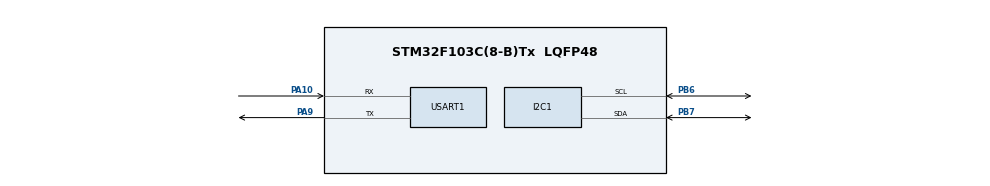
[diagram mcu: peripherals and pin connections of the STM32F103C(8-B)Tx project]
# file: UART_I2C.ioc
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Mcu.Family=STM32F1
Mcu.Name=STM32F103C(8-B)Tx
Mcu.Package=LQFP48
NVIC.PriorityGroup=NVIC_PRIORITYGROUP_4
PA10.Mode=Asynchronous
PA10.Signal=USART1_RX
PA9.Mode=Asynchronous
PA9.Signal=USART1_TX
PB6.Mode=I2C
PB6.Signal=I2C1_SCL
PB7.Mode=I2C
PB7.Signal=I2C1_SDA
ProjectManager.HeapSize=0x200
ProjectManager.StackSize=0x400
ProjectManager.TargetToolchain=STM32CubeIDE
RCC.APB1Freq_Value=8000000
RCC.APB2Freq_Value=8000000
USART1.VirtualMode=VM_ASYNC
VP_SYS_VS_ND.Mode=No_Debug
board=custom

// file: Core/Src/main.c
/* USER CODE BEGIN Header */
/**
  ******************************************************************************
  * @file           : main.c
  * @brief          : Main program body
  ******************************************************************************
  * @attention
  *
  * Copyright (c) 2024 STMicroelectronics.
  * All rights reserved.
  *
  * This software is licensed under terms that can be found in the LICENSE file
  * in the root directory of this software component.
  * If no LICENSE file comes with this software, it is provided AS-IS.
  *
  ******************************************************************************
  */
/* USER CODE END Header */
#include "main.h"
#include "stm32f1xx_hal_i2c.h"

/* USER CODE BEGIN PD */
#define SI7021_ADDRESS 0x40
#define SI7021_MEASURE_HUMIDITY 0xF5
#define SI7021_MEASURE_TEMPERATURE 0xF3
/* USER CODE END PD */

I2C_HandleTypeDef hi2c1;

UART_HandleTypeDef huart1;

void SystemClock_Config(void);
static void MX_GPIO_Init(void);
static void MX_I2C1_Init(void);
static void MX_USART1_UART_Init(void);
static HAL_StatusTypeDef I2C_Measure_Humidity(uint16_t * buffer);
static HAL_StatusTypeDef I2C_Measure_Temperature(uint16_t * buffer);

int main(void)
{

  /* MCU Configuration--------------------------------------------------------*/

  /* Reset of all peripherals, Initializes the Flash interface and the Systick. */
  HAL_Init();

  /* Configure the system clock */
  SystemClock_Config();

  /* Initialize all configured peripherals */
  MX_GPIO_Init();
  MX_I2C1_Init();
  MX_USART1_UART_Init();

  /* Infinite loop */
  while (1)
  {
	  char results[100] = "";
	  uint16_t buffer = 0;
	  float humidity = 0;
	  float temperature = 0;
	  if (I2C_Measure_Humidity(&buffer) == HAL_OK){
		  humidity = 125.0*buffer/65536.0 - 6;
	  }
	  else{
		  sprintf(results, sizeof(results), "Error in humidity measurement");
		  HAL_UART_Transmit(&huart1, results, strlen(results), 500);
		  HAL_Delay(1000);
		  continue;
	  }
	  if (I2C_Measure_Temperature(&buffer) == HAL_OK){
		  temperature = 175.72*buffer/65536.0 - 46.85;
	  }
	  else{
	  		  sprintf(results, sizeof(results), "Error in temperature measurement");
	  		  HAL_UART_Transmit(&huart1, results, strlen(results), 500);
	  		  HAL_Delay(1000);
	  		  continue;
	  	  }
	  sprintf(results, sizeof(results), "Temperature: %.2f; Humidity: %.2f", temperature, humidity);
	  HAL_UART_Transmit(&huart1, results, strlen(results), 500);
	  HAL_Delay(1000);
  }
}

void SystemClock_Config(void)
{
  RCC_OscInitTypeDef RCC_OscInitStruct = {0};
  RCC_ClkInitTypeDef RCC_ClkInitStruct = {0};

  /** Initializes the RCC Oscillators according to the specified parameters
  * in the RCC_OscInitTypeDef structure.
  */
  RCC_OscInitStruct.OscillatorType = RCC_OSCILLATORTYPE_HSI;
  RCC_OscInitStruct.HSIState = RCC_HSI_ON;
  RCC_OscInitStruct.HSICalibrationValue = RCC_HSICALIBRATION_DEFAULT;
  RCC_OscInitStruct.PLL.PLLState = RCC_PLL_NONE;
  if (HAL_RCC_OscConfig(&RCC_OscInitStruct) != HAL_OK)
  {
    Error_Handler();
  }

  /** Initializes the CPU, AHB and APB buses clocks
  */
  RCC_ClkInitStruct.ClockType = RCC_CLOCKTYPE_HCLK|RCC_CLOCKTYPE_SYSCLK
                              |RCC_CLOCKTYPE_PCLK1|RCC_CLOCKTYPE_PCLK2;
  RCC_ClkInitStruct.SYSCLKSource = RCC_SYSCLKSOURCE_HSI;
  RCC_ClkInitStruct.AHBCLKDivider = RCC_SYSCLK_DIV1;
  RCC_ClkInitStruct.APB1CLKDivider = RCC_HCLK_DIV1;
  RCC_ClkInitStruct.APB2CLKDivider = RCC_HCLK_DIV1;

  if (HAL_RCC_ClockConfig(&RCC_ClkInitStruct, FLASH_LATENCY_0) != HAL_OK)
  {
    Error_Handler();
  }
}

static void MX_I2C1_Init(void)
{

  hi2c1.Instance = I2C1;
  hi2c1.Init.ClockSpeed = 100000;
  hi2c1.Init.DutyCycle = I2C_DUTYCYCLE_2;
  hi2c1.Init.OwnAddress1 = 0;
  hi2c1.Init.AddressingMode = I2C_ADDRESSINGMODE_7BIT;
  hi2c1.Init.DualAddressMode = I2C_DUALADDRESS_DISABLE;
  hi2c1.Init.OwnAddress2 = 0;
  hi2c1.Init.GeneralCallMode = I2C_GENERALCALL_DISABLE;
  hi2c1.Init.NoStretchMode = I2C_NOSTRETCH_DISABLE;
  if (HAL_I2C_Init(&hi2c1) != HAL_OK)
  {
    Error_Handler();
  }

}

static void MX_USART1_UART_Init(void)
{

  huart1.Instance = USART1;
  huart1.Init.BaudRate = 115200;
  huart1.Init.WordLength = UART_WORDLENGTH_8B;
  huart1.Init.StopBits = UART_STOPBITS_1;
  huart1.Init.Parity = UART_PARITY_NONE;
  huart1.Init.Mode = UART_MODE_TX_RX;
  huart1.Init.HwFlowCtl = UART_HWCONTROL_NONE;
  huart1.Init.OverSampling = UART_OVERSAMPLING_16;
  if (HAL_UART_Init(&huart1) != HAL_OK)
  {
    Error_Handler();
  }

}

static void MX_GPIO_Init(void)
{

  /* GPIO Ports Clock Enable */
  __HAL_RCC_GPIOA_CLK_ENABLE();
  __HAL_RCC_GPIOB_CLK_ENABLE();

}

/* USER CODE BEGIN 4 */
static HAL_StatusTypeDef I2C_Measure_Temperature(uint16_t * buffer){
	uint8_t command = SI7021_MEASURE_TEMPERATURE;
	if(HAL_I2C_Master_Transmit(&hi2c1, SI7021_ADDRESS<<1, &command, sizeof(command), 500)==HAL_OK){
		if(HAL_I2C_Master_Receive(&hi2c1, SI7021_ADDRESS<<1, buffer, sizeof(buffer), 500)==HAL_OK){
				return HAL_OK;
		}
		else{
			return HAL_ERROR;
		}
	}
	return HAL_ERROR;
}
static HAL_StatusTypeDef I2C_Measure_Humidity(uint16_t * buffer){
	uint8_t command = SI7021_MEASURE_HUMIDITY;
	if(HAL_I2C_Master_Transmit(&hi2c1, SI7021_ADDRESS<<1, &command, sizeof(command), 500)==HAL_OK){
		if(HAL_I2C_Master_Receive(&hi2c1, SI7021_ADDRESS<<1, buffer, sizeof(buffer), 500)==HAL_OK){
				return HAL_OK;
		}
		else{
			return HAL_ERROR;
		}
	}
	return HAL_ERROR;
}
/* USER CODE END 4 */

void Error_Handler(void)
{
  __disable_irq();
  while (1)
  {
  }
}
